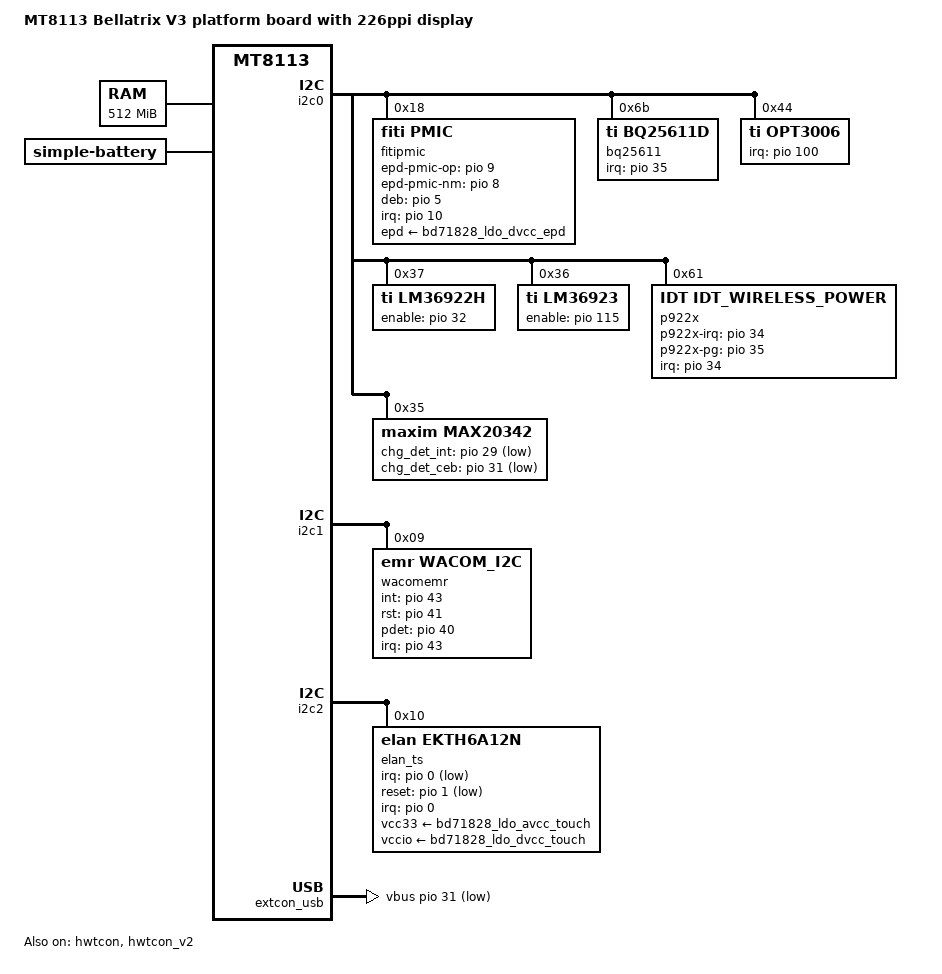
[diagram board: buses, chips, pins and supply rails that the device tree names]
// SPDX-License-Identifier: GPL-2.0
/*
 * Copyright (c) 2023 MediaTek Inc.
 *
 */

/dts-v1/;

#include "mt8113-bellatrix-v3.dtsi"

/ {
	model = "MT8113 Bellatrix V3 platform board with 226ppi display";

	memory@40000000 {
		device_type = "memory";
		reg = <0 0x40000000 0 0x20000000>;
	};

	bat: battery {
		compatible = "simple-battery";
		constant-charge-current-max-microamp =  <3000000>;
		constant-charge-voltage-max-microvolt = <4400000>;
		precharge-current-microamp = <120000>;
		termination-current-microamp = <120000>;
	};
};

&i2c0 {
	pinctrl-names = "default", "sleep";
	pinctrl-0 = <&i2c0_pins>;
	pinctrl-1 = <&i2c0_pins>;

	fitipmic: fiti@18 {
		compatible = "fiti,pmic";
		reg = <0x18>;
		vgh_ext = <0>;
		vgl_ext = <0>;
		xon_len = <2510>;
		xon_delay = <0>;
		vgh = <28000>;
		vgl = <20000>;
		vcom_setting = <1400>;
		vghnm_setting = <2900>;
		vghnm_ext = <1500>;
		vpos = <15000>;
		vneg = <15000>;
		epd-pmic-en = <&bd71828 1 0>;
		epd-pmic-op = <&pio 9 0>;
		epd-pmic-nm = <&pio 8 0>;
		interrupt-parent = <&pio>;
		interrupts = <10 IRQ_TYPE_LEVEL_HIGH>;
		deb-gpios = <&pio 5 0>;
		debounce = <16>;
		epd-supply = <&bd71828_ldo_dvcc_epd>;
		pinctrl-names = "active", "inactive";
		pinctrl-0 = <&fiti_pins_active>;
		pinctrl-1 = <&fiti_pins_inactive>;
		status = "okay";
	};

	bq25611: bq25611@6b {
		compatible = "ti,bq25611d";
		reg = <0x6b>;
		monitored-battery = <&bat>;
		interrupt-parent = <&pio>;
		interrupts = <35 IRQ_TYPE_EDGE_FALLING>;
		watchdog-timer = <40000>;

		input-voltage-limit-microvolt = <4500000>;
		input-current-limit-microamp = <3000000>;
		status="okay";
	};

	opt3006@44 {
		compatible = "ti,opt3006";
		pinctrl-names = "default", "sleep";
		pinctrl-0 = <&opt3006_pins_default>;
		pinctrl-1 = <&opt3006_pins_default>;
		reg = <0x44>;
		interrupt-parent = <&pio>;
		interrupts = <100 IRQ_TYPE_EDGE_FALLING>;

		opt3001,id = <0>;

		opt3001,brightnesss_current = <
			1136 1307 1408 1478 1534 1579 1869 1649 1679 1705
			1728 1749 1769 1788 1805 1820 1835 1850 1863 1876
		>;
	};

	/*white*/
	lm36922h@37 {
		compatible = "ti,lm36922h";
		pinctrl-names = "default", "sleep";
		pinctrl-0 = <&lm36922h_pins>;
		pinctrl-1 = <&lm36922h_pins>;
		reg = <0x37>;
		enable-gpios = <&pio 32 GPIO_ACTIVE_HIGH>;

		bl@0{
			label = "lm36922h-bl";
			reg=<0>;
			frontlight=<0>;
		};
	};

	/*Amber*/
	lm36923@36 {
		compatible = "ti,lm36923";
		pinctrl-names = "default", "sleep";
		pinctrl-0 = <&lm36923_pins>;
		pinctrl-1 = <&lm36923_pins>;
		reg = <0x36>;
		enable-gpios = <&pio 115 GPIO_ACTIVE_HIGH>;

		bl@0{
			label = "lm36923-bl";
			reg=<0>;
			frontlight=<1>;
		};
	};

	p922x@61 {
		compatible = "IDT,idt_wireless_power";
		reg = <0x61>;
		interrupt-parent = <&pio>;
		interrupts = <34 IRQ_TYPE_EDGE_FALLING 35 IRQ_TYPE_EDGE_RISING>;

		wpc-mivr = <4500000 4500000>;
		wpc-switch-voltage = <4500 5000 5500 8500 9000 9500>;
		bpp-5w-fod = /bits/ 8 <151 47 148 33 149 23 148 21
					148 21 149 21 254 127 0 0>;
		bpp-10w-fod = /bits/ 8 <254 127 254 127 254 127 254 127
					254 127 254 127 254 127 0 0>;

		pinctrl-names = "wpc_en_default", "wpc_en0", "wpc_en1",
					"sleep_en_default", "sleep_en0", "sleep_en1";
		pinctrl-0 = <&wpc_en_default>;
		pinctrl-1 = <&wpc_en0>;
		pinctrl-2 = <&wpc_en1>;
		pinctrl-3 = <&sleep_en_default>;
		pinctrl-4 = <&sleep_en0>;
		pinctrl-5 = <&sleep_en1>;

		p922x-irq = <&pio 34 0>;
		p922x-pg = <&pio 35 0>;

		wpc-hardware-config = <1>;
		status = "okay";
	};

	max20342: max20342@35 {
		compatible = "maxim,max20342";
		interrupt-parent = <&pio>;
		interrupt-controller;
		pinctrl-names = "default";
		pinctrl-0 = <&max20342_chg_det_pins_default>;
		chg_det_int = <&pio 29 GPIO_ACTIVE_LOW>;
		chg_det_ceb = <&pio 31 GPIO_ACTIVE_LOW>;
		reg = <0x35>;
		status = "okay";
	};
};

&i2c1 {
	pinctrl-names = "default", "sleep";
	pinctrl-0 = <&i2c1_pins>;
	pinctrl-1 = <&i2c1_pins>;

	wacomemr: i2c-hid-dev@9 {
		compatible = "emr,wacom_i2c";
		reg = <0x9>;
		pinctrl-names = "default", "sleep";
		pinctrl-0 = <&emr_touch_sensor_pins_default>;
		pinctrl-1 = <&emr_touch_sensor_pins_sleep>;

		interrupt-parent = <&pio>;
		interrupts = <43 GPIO_ACTIVE_LOW>;
		/* vdd-supply = <&bd71828_ldo_avcc_touch>; */ /* 3.3V */
		/* vddl-supply = <&bd71828_ldo_dvcc_touch>; */ /* 1.8V */
		post-power-on-delay-ms = <100>;

		wacom,int_gpio = <&pio 43 0>;
		wacom,rst_gpio = <&pio 41 0>;
		wacom,pdet_gpio = <&pio 40 0>;
		wacom,panel-max-x = <1404>;
		wacom,panel-max-y = <1872>;
		wacom,swap-axis;
		/* wacom,x2x; */
		wacom,y2y;
		wacom,reset-high;
	};
};

&i2c2 {
	pinctrl-names = "default", "sleep";
	pinctrl-0 = <&i2c2_pins>;
	pinctrl-1 = <&i2c2_pins_sleep>;

	elan_ts: elan@10 {
		compatible = "elan,ekth6a12n";
		reg = <0x10>;
		pinctrl-names = "default", "sleep";
		pinctrl-0 = <&touch_sensor_pins_default>;
		pinctrl-1 = <&touch_sensor_pins_sleep>;

		interrupt-parent = <&pio>;
		interrupts = <0 IRQ_TYPE_LEVEL_LOW>;

		vcc33-supply = <&bd71828_ldo_avcc_touch>;
		vccio-supply = <&bd71828_ldo_dvcc_touch>;

		elan,irq-gpio = <&pio 0 GPIO_ACTIVE_LOW>;	//0x00: ACTIVE_HIGH 0x01: ACTIVE_LOW
		elan,reset-gpio = <&pio 1 GPIO_ACTIVE_LOW>;
		elan,panel-x-max = <1404>;
		elan,panel-y-max = <1872>;
		elan,swap-axis;
		elan,x2x;
		/* elan,y2y; */
	};
};

&hwtcon {
	status = "okay";
	pinctrl-names = "active","inactive";
	pinctrl-0 = <&hwtcon_pins_active>;
	pinctrl-1 = <&hwtcon_pins_inactive>;
	epd{
		panel_dpi_clk = <60000000>;
		panel_width = <1648>;
		panel_height = <1236>;
		panel_area_w = <140>;
		panel_area_h = <105>;
		panel_waveform_type = <4>;
		panel_output_8bit = <0>;
		panel_tcon0 = <5 1241 41 51 0 1 0 0>;
		panel_tcon1 = <5 1241 7 27 0 0 0 0>;
		panel_tcon2 = <4 1243 7 7 4 0 1 7>;
		panel_tcon3 = <1 1246 57 497 0 0 0 0>;
		panel_tcon4 = <0 0 0 0 0 0 0 0>;
		panel_tcon5 = <2 3 256 280 4 1 1 7>;
		panel_dpi = <10 60 7 2 6 3 1>;
		panel_material_type = <4>;
		panel_rotate = <3>;
		panel_hflip = <1>;
		modify_wf_mode_counter = <800>;
		status = "okay";
	};
};

&hwtcon_reserved {
	reg = <0 0x44600000 0 0x00900000>;
};

&hwtcon_v2 {
	status = "okay";
	memory-region = <&hwtcon_reserved>;
	pinctrl-names = "active","inactive";
	pinctrl-0 = <&hwtcon_pins_active>;
	pinctrl-1 = <&hwtcon_pins_inactive>;
	epd{
		panel_dpi_clk = <66600000>;
		panel_width = <1872>;
		panel_height = <1404>;
		panel_area_w = <159>;
		panel_area_h = <119>;
		panel_waveform_type = <4>;
		panel_output_8bit = <0>;
		panel_tcon0 = <6 1410 45 55 0 1 0 0>;
		panel_tcon1 = <6 1410 7 29 0 0 0 0>;
		panel_tcon2 = <5 1412 7 7 4 0 1 7>;
		panel_tcon3 = <1 1414 85 485 0 0 0 0>;
		panel_tcon4 = <1 2 7 7 4 1 1 7>;
		panel_tcon5 = <2 3 256 280 4 1 1 7>;
		panel_dpi = <11 23 8 2 11 4 1>;
		panel_material_type = <4>;
		panel_rotate = <3>;
		panel_hflip = <1>;
		modify_wf_mode_counter = <800>;
		status = "okay";
	};
};

&pio {
	pinctrl-names = "default", "sleep";
	pinctrl-0 = <&unused_pin_default>;
	pinctrl-1 = <&unused_pin_sleep>;

	unused_pin_default: unusedpindefault {
		pins_touch_id {
			pinmux = <MT8512_PIN_26_USB_ID__FUNC_GPIO26>, /* Touch ID 1 */
				<MT8512_PIN_27_USB_DRV__FUNC_GPIO27>; /* Touch ID 0 */
			input-enable;
			bias-pull-up;
		};
	};

	unused_pin_sleep: unusedpinsleep {
		pins_touch_id {
			pinmux = <MT8512_PIN_26_USB_ID__FUNC_GPIO26>, /* Touch ID 1 */
				<MT8512_PIN_27_USB_DRV__FUNC_GPIO27>; /* Touch ID 0 */
			input-enable;
			bias-pull-down;
		};
	};

	i2c0_pins: i2c0 {
		pins_bus {
			pinmux = <MT8512_PIN_64_SDA0__FUNC_SDA0_0>,
				 <MT8512_PIN_65_SCL0__FUNC_SCL0_0>;
			input-enable;
			bias-disable;
		};
	};

	i2c1_pins: i2c1 {
		pins_bus {
			pinmux = <MT8512_PIN_66_SDA1__FUNC_SDA1_0>,
				 <MT8512_PIN_67_SCL1__FUNC_SCL1_0>;
			input-enable;
			bias-disable;
		};
	};

	i2c2_pins: i2c2 {
		pins_bus {
			pinmux = <MT8512_PIN_68_SDA2__FUNC_SDA2_0>,
				 <MT8512_PIN_69_SCL2__FUNC_SCL2_0>;
			input-enable;
			bias-disable;
		};
	};

	i2c2_pins_sleep: i2c2_sleep {
		pins_bus {
			pinmux = <MT8512_PIN_68_SDA2__FUNC_GPIO68>,
				 <MT8512_PIN_69_SCL2__FUNC_GPIO69>;
			input-disable;
			bias-disable;
		};
	};

	touch_sensor_pins_default: touchsensordefault {
		pins_rst {
			pinmux = <MT8512_PIN_1_GPIO1__FUNC_GPIO1>;  /*TOUCH_RST*/
			output-low;
		};
		pins_int {
			pinmux = <MT8512_PIN_0_GPIO0__FUNC_GPIO0>;  /*TOUCH_INT*/
			input-enable;
			bias-disable;
		};
	};

	touch_sensor_pins_sleep: touchsensorsleep {
		pins_rst {
			pinmux = <MT8512_PIN_1_GPIO1__FUNC_GPIO1>;  /*TOUCH_RST*/
			input-enable;
			bias-pull-down;
		};
		pins_int {
			pinmux = <MT8512_PIN_0_GPIO0__FUNC_GPIO0>;  /*TOUCH_INT*/
			input-enable;
			bias-pull-down;
		};
	};

	emr_touch_sensor_pins_default: emrtouchsensordefault {
		pins_rst {
			pinmux = <MT8512_PIN_41_KPROW1__FUNC_GPIO41>;  /*TOUCH_RST*/
			output-high;
		};
		pins_int {
			pinmux = <MT8512_PIN_43_KPCOL1__FUNC_GPIO43>;  /*TOUCH_INT*/
			input-enable;
			bias-disable;
		};
		pins_pdet {
			pinmux = <MT8512_PIN_40_KPROW0__FUNC_GPIO40>;  /*TOUCH_PDET*/
			input-enable;
			bias-disable;
		};
	};

	emr_touch_sensor_pins_sleep: rmetouchsensorsleep {
		pins_rst {
			pinmux = <MT8512_PIN_41_KPROW1__FUNC_GPIO41>;  /*TOUCH_RST*/
			input-enable;
			bias-pull-up;
		};
		pins_int {
			pinmux = <MT8512_PIN_43_KPCOL1__FUNC_GPIO43>;  /*TOUCH_INT*/
			input-enable;
			bias-disable;
		};
		pins_pdet {
			pinmux = <MT8512_PIN_40_KPROW0__FUNC_GPIO40>;  /*TOUCH_PDET*/
			input-enable;
			bias-disable;
		};
	};

	opt3006_pins_default: opt3006_default {
		pins_cmd_dat {
			pinmux = <MT8512_PIN_100_DMIC0_DAT0__FUNC_GPIO100>;
			input-enable;
			bias-disable;
		};
	};

	lm36922h_pins: lm36922h_pins {
		pins_cmd_dat {
			pinmux = <MT8512_PIN_32_FL_EN__FUNC_GPIO32>;
			input-disable;
			bias-disable;
		};
	};

	lm36923_pins: lm36923_pins {
		pins_cmd_dat {
			pinmux = <MT8512_PIN_115_SPI_MOSI__FUNC_GPIO115>;
			input-disable;
			bias-disable;
		};
	};

	wpc_en_default: wpc_en_default {
		pins_cmd_dat {
			pinmux = <MT8512_PIN_34_SOC2WAN_RESET__FUNC_GPIO34>;
			input-enable;
			bias-pull-up;
		};
	};

	wpc_en0: wpc_en0 {
		pins_cmd_dat {
			pinmux = <MT8512_PIN_34_SOC2WAN_RESET__FUNC_GPIO34>;
			input-enable;
			bias-pull-up;
		};
	};

	wpc_en1: wpc_en1 {
		pins_cmd_dat {
			pinmux = <MT8512_PIN_34_SOC2WAN_RESET__FUNC_GPIO34>;
			input-enable;
			bias-pull-up;
		};
	};

	sleep_en_default: sleep_en_default {
		pins_cmd_dat {
			pinmux = <MT8512_PIN_35_WAN_FM_RDY__FUNC_GPIO35>;
			input-enable;
			bias-pull-down;
		};
	};

	sleep_en0: sleep_en0 {
		pins_cmd_dat {
			pinmux = <MT8512_PIN_35_WAN_FM_RDY__FUNC_GPIO35>;
			input-enable;
			bias-pull-down;
		};
	};

	sleep_en1: sleep_en1 {
		pins_cmd_dat {
			pinmux = <MT8512_PIN_35_WAN_FM_RDY__FUNC_GPIO35>;
			input-enable;
			bias-pull-down;
		};
	};

	max20342_chg_det_pins_default: max20342_chg_det_pins_default {
		pins_cmd_dat {
			pinmux = <MT8512_PIN_29_CHG_IRQ__FUNC_GPIO29>;
			input-enable;
			bias-disable;
		};
	};
};

&extcon_usb {
	vbus-gpios = <&pio 31 GPIO_ACTIVE_LOW>;
};

&usbvbus_det_pins_default {
	pins_cmd_dat {
		pinmux = <MT8512_PIN_31_CHG_CEB__FUNC_GPIO31>;
		input-enable;
		bias-disable;
	};
};

